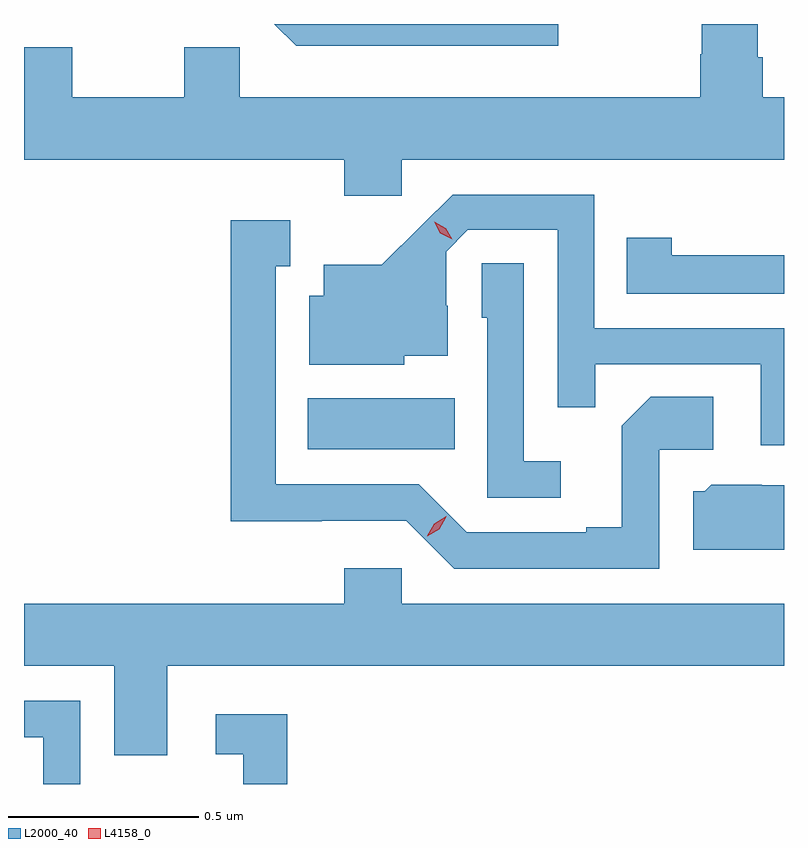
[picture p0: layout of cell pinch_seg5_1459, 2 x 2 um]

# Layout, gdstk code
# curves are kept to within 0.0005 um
import gdstk
lib = gdstk.Library(unit=1e-6, precision=1e-09)
def R(c, l, rs):  # rectangles x0, y0, x1, y1
    for r in rs: c.add(gdstk.rectangle(r[:2], r[2:], *l))
def P(c, l, *ps):  # polygons
    for p in ps: c.add(gdstk.Polygon(p, *l))
L2000_40 = (2000, 40)
L4158_0 = (4158, 0)

pinch_seg5_1459 = lib.new_cell('pinch_seg5_1459')
R(pinch_seg5_1459, L2000_40, [(136.481,907.946,136.868,908.08)])
P(pinch_seg5_1459, L2000_40, [(137.734,908.872),(137.678,908.872),(137.678,908.978),(137.665,908.978),(137.665,909.065),(137.518,909.065),(137.518,908.985),(137.513,908.985),(137.513,908.872),(136.302,908.872),(136.302,909.004),(136.156,909.004),(136.156,908.872),(135.861,908.872),(135.861,909.004),(135.734,909.004),(135.734,908.708),(136.577,908.708),(136.577,908.613),(136.728,908.613),(136.728,908.708),(137.734,908.708)],
  [(137.14,909.065),(136.393,909.065),(136.45,909.008),(137.14,909.008)],
  [(137.734,908.265),(137.235,908.265),(137.235,908.616),(136.862,908.616),(136.675,908.431),(136.523,908.431),(136.523,908.35),(136.484,908.35),(136.484,908.168),(136.734,908.168),(136.734,908.192),(136.849,908.192),(136.849,908.324),(136.845,908.324),(136.845,908.466),(136.902,908.523),(137.139,908.523),(137.139,908.056),(137.237,908.056),(137.237,908.169),(137.673,908.169),(137.673,907.956),(137.734,907.956)],
  [(137.406,907.944),(137.548,907.944),(137.548,908.084),(137.383,908.084),(137.307,908.008),(137.307,907.741),(137.213,907.741),(137.213,907.728),(136.899,907.728),(136.773,907.854),(136.396,907.854),(136.396,908.427),(136.435,908.427),(136.435,908.548),(136.278,908.548),(136.278,907.757),(136.518,907.757),(136.518,907.758),(136.74,907.758),(136.866,907.632),(137.406,907.632)],
  [(137.734,908.456),(137.439,908.456),(137.439,908.503),(137.32,908.503),(137.32,908.355),(137.734,908.355)],
  [(137.146,907.915),(137.049,907.915),(137.049,908.435),(136.938,908.435),(136.938,908.292),(136.953,908.292),(136.953,907.818),(137.146,907.818)],
  [(137.734,907.851),(137.676,907.851),(137.676,907.852),(137.542,907.852),(137.526,907.836),(137.495,907.836),(137.495,907.682),(137.734,907.682)],
  [(136.111,907.376),(137.734,907.376),(137.734,907.54),(136.728,907.54),(136.728,907.633),(136.577,907.633),(136.577,907.54),(135.734,907.54),(135.734,907.376),(135.971,907.376),(135.971,907.141),(136.111,907.141)],
  [(135.882,907.284),(135.734,907.284),(135.734,907.188),(135.785,907.188),(135.785,907.065),(135.882,907.065)],
  [(136.427,907.249),(136.239,907.249),(136.239,907.143),(136.311,907.143),(136.311,907.065),(136.427,907.065)])
P(pinch_seg5_1459, L4158_0, [(136.861,908.498),(136.83,908.514),(136.813,908.544),(136.813,908.544),(136.813,908.544),(136.844,908.528),(136.861,908.498),(136.861,908.498)],
  [(136.795,907.717),(136.795,907.718),(136.813,907.75),(136.845,907.769),(136.845,907.769),(136.845,907.768),(136.827,907.736),(136.795,907.717)])

lib.write_gds('pinch_seg5_1459.gds')
